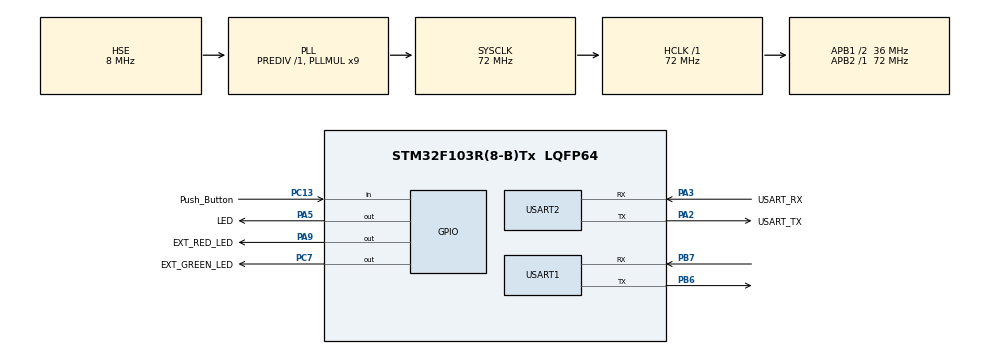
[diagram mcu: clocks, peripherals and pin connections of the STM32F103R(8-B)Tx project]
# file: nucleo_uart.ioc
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Mcu.Family=STM32F1
Mcu.Name=STM32F103R(8-B)Tx
Mcu.Package=LQFP64
NVIC.PriorityGroup=NVIC_PRIORITYGROUP_4
NVIC.TIM1_UP_IRQn=true\:0\:0\:false\:false\:true\:true\:true\:true
NVIC.USART1_IRQn=true\:0\:0\:false\:false\:true\:true\:true\:true
NVIC.USART2_IRQn=true\:0\:0\:false\:false\:true\:true\:true\:true
PA13.GPIO_Label=TMS
PA13.Mode=Serial_Wire
PA13.Signal=SYS_JTMS-SWDIO
PA14.GPIO_Label=TCK
PA14.Mode=Serial_Wire
PA14.Signal=SYS_JTCK-SWCLK
PA2.GPIO_Label=USART_TX
PA2.GPIO_Mode=GPIO_MODE_AF_PP
PA2.GPIO_PuPd=GPIO_NOPULL
PA2.GPIO_Speed=GPIO_SPEED_FREQ_LOW
PA2.Mode=Asynchronous
PA2.Signal=USART2_TX
PA3.GPIO_Label=USART_RX
PA3.GPIO_Mode=GPIO_MODE_AF_PP
PA3.GPIO_PuPd=GPIO_NOPULL
PA3.GPIO_Speed=GPIO_SPEED_FREQ_LOW
PA3.Mode=Asynchronous
PA3.Signal=USART2_RX
PA5.GPIO_Label=LED
PA5.GPIO_ModeDefaultOutputPP=GPIO_MODE_OUTPUT_PP
PA5.GPIO_PuPd=GPIO_NOPULL
PA5.GPIO_Speed=GPIO_SPEED_FREQ_LOW
PA5.Signal=GPIO_Output
PA9.GPIO_Label=EXT_RED_LED
PA9.Signal=GPIO_Output
PB3.GPIO_Label=SWO
PB3.Signal=SYS_JTDO-TRACESWO
PB6.Mode=Asynchronous
PB6.Signal=USART1_TX
PB7.Mode=Asynchronous
PB7.Signal=USART1_RX
PC13-TAMPER-RTC.GPIO_Label=Push_Button
PC13-TAMPER-RTC.Signal=GPIO_Input
PC14-OSC32_IN.Signal=RCC_OSC32_IN
PC15-OSC32_OUT.Signal=RCC_OSC32_OUT
PC7.GPIO_Label=EXT_GREEN_LED
PC7.Signal=GPIO_Output
PD0-OSC_IN.Mode=HSE-External-Oscillator
PD0-OSC_IN.Signal=RCC_OSC_IN
PD1-OSC_OUT.Mode=HSE-External-Oscillator
PD1-OSC_OUT.Signal=RCC_OSC_OUT
ProjectManager.HeapSize=0x200
ProjectManager.StackSize=0x400
ProjectManager.TargetToolchain=STM32CubeIDE
RCC.AHBFreq_Value=72000000
RCC.APB1CLKDivider=RCC_HCLK_DIV2
RCC.APB1Freq_Value=36000000
RCC.APB1TimFreq_Value=72000000
RCC.APB2Freq_Value=72000000
RCC.APB2TimFreq_Value=72000000
RCC.HCLKFreq_Value=72000000
RCC.PLLMUL=RCC_PLL_MUL9
RCC.PLLSourceVirtual=RCC_PLLSOURCE_HSE
RCC.RTCClockSelection=RCC_RTCCLKSOURCE_LSE
RCC.SYSCLKFreq_VALUE=72000000
RCC.SYSCLKSource=RCC_SYSCLKSOURCE_PLLCLK
RCC.USBFreq_Value=72000000
USART1.VirtualMode=VM_ASYNC
USART2.VirtualMode=VM_ASYNC
VP_TIM1_VS_ClockSourceINT.Mode=Internal
board=NUCLEO-F103RB

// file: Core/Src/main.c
/* USER CODE BEGIN Header */
/**
  ******************************************************************************
  * @file           : main.c
  * @brief          : Main program body
  ******************************************************************************
  * @attention
  *
  * Copyright (c) 2024 STMicroelectronics.
  * All rights reserved.
  *
  * This software is licensed under terms that can be found in the LICENSE file
  * in the root directory of this software component.
  * If no LICENSE file comes with this software, it is provided AS-IS.
  *
  ******************************************************************************
  */
/* USER CODE END Header */
#include "main.h"

TIM_HandleTypeDef htim1;

UART_HandleTypeDef huart1;
UART_HandleTypeDef huart2;

/* USER CODE BEGIN PV */
char readBuf[1];
__IO ITStatus UartReady = SET;
/* USER CODE END PV */

void SystemClock_Config(void);
static void MX_GPIO_Init(void);
static void MX_USART2_UART_Init(void);
static void MX_TIM1_Init(void);
static void MX_USART1_UART_Init(void);
/* USER CODE BEGIN PFP */
void delay (int x);
void sleep_ms(uint32_t ms);
void sleep_us(uint32_t us);
/* USER CODE END PFP */

int main(void)
{

  /* MCU Configuration--------------------------------------------------------*/

  /* Reset of all peripherals, Initializes the Flash interface and the Systick. */
  HAL_Init();

  /* Configure the system clock */
  SystemClock_Config();

  /* Initialize all configured peripherals */
  MX_GPIO_Init();
  MX_USART2_UART_Init();
  MX_TIM1_Init();
  MX_USART1_UART_Init();

  /* Infinite loop */
  /* USER CODE BEGIN WHILE */
  while (1)
  {
//    HAL_GPIO_WritePin(LED_GPIO_Port, LED_Pin, GPIO_PIN_SET);
//    HAL_Delay(1000);
//    HAL_GPIO_WritePin(LED_GPIO_Port, LED_Pin, GPIO_PIN_RESET);
//    HAL_GPIO_WritePin(EXT_GREEN_LED_GPIO_Port, EXT_GREEN_LED_Pin, GPIO_PIN_SET);
//    HAL_Delay(1000);
//    HAL_GPIO_WritePin(EXT_GREEN_LED_GPIO_Port, EXT_GREEN_LED_Pin, GPIO_PIN_RESET);
//    HAL_GPIO_WritePin(EXT_RED_LED_GPIO_Port, EXT_RED_LED_Pin, GPIO_PIN_SET);
//    HAL_Delay(1000);
//    HAL_GPIO_WritePin(EXT_RED_LED_GPIO_Port, EXT_RED_LED_Pin, GPIO_PIN_RESET);
    if (UartReady == SET) {
      UartReady = RESET;
      HAL_UART_Receive_IT(&huart2, (uint8_t*)readBuf, 1);
      HAL_GPIO_TogglePin(LED_GPIO_Port, LED_Pin);
      HAL_UART_Transmit_IT(&huart2, (uint8_t*)readBuf, 1);
      HAL_UART_Transmit_IT(&huart1, (uint8_t*)readBuf, 1);
    }

    /* USER CODE END WHILE */

  }
}

void SystemClock_Config(void)
{
  RCC_OscInitTypeDef RCC_OscInitStruct = {0};
  RCC_ClkInitTypeDef RCC_ClkInitStruct = {0};

  /** Initializes the RCC Oscillators according to the specified parameters
  * in the RCC_OscInitTypeDef structure.
  */
  RCC_OscInitStruct.OscillatorType = RCC_OSCILLATORTYPE_HSE;
  RCC_OscInitStruct.HSEState = RCC_HSE_ON;
  RCC_OscInitStruct.HSEPredivValue = RCC_HSE_PREDIV_DIV1;
  RCC_OscInitStruct.HSIState = RCC_HSI_ON;
  RCC_OscInitStruct.PLL.PLLState = RCC_PLL_ON;
  RCC_OscInitStruct.PLL.PLLSource = RCC_PLLSOURCE_HSE;
  RCC_OscInitStruct.PLL.PLLMUL = RCC_PLL_MUL9;
  if (HAL_RCC_OscConfig(&RCC_OscInitStruct) != HAL_OK)
  {
    Error_Handler();
  }

  /** Initializes the CPU, AHB and APB buses clocks
  */
  RCC_ClkInitStruct.ClockType = RCC_CLOCKTYPE_HCLK|RCC_CLOCKTYPE_SYSCLK
                              |RCC_CLOCKTYPE_PCLK1|RCC_CLOCKTYPE_PCLK2;
  RCC_ClkInitStruct.SYSCLKSource = RCC_SYSCLKSOURCE_PLLCLK;
  RCC_ClkInitStruct.AHBCLKDivider = RCC_SYSCLK_DIV1;
  RCC_ClkInitStruct.APB1CLKDivider = RCC_HCLK_DIV2;
  RCC_ClkInitStruct.APB2CLKDivider = RCC_HCLK_DIV1;

  if (HAL_RCC_ClockConfig(&RCC_ClkInitStruct, FLASH_LATENCY_2) != HAL_OK)
  {
    Error_Handler();
  }
}

static void MX_TIM1_Init(void)
{

  TIM_ClockConfigTypeDef sClockSourceConfig = {0};
  TIM_MasterConfigTypeDef sMasterConfig = {0};

  htim1.Instance = TIM1;
  htim1.Init.Prescaler = 0;
  htim1.Init.CounterMode = TIM_COUNTERMODE_UP;
  htim1.Init.Period = 65535;
  htim1.Init.ClockDivision = TIM_CLOCKDIVISION_DIV1;
  htim1.Init.RepetitionCounter = 0;
  htim1.Init.AutoReloadPreload = TIM_AUTORELOAD_PRELOAD_DISABLE;
  if (HAL_TIM_Base_Init(&htim1) != HAL_OK)
  {
    Error_Handler();
  }
  sClockSourceConfig.ClockSource = TIM_CLOCKSOURCE_INTERNAL;
  if (HAL_TIM_ConfigClockSource(&htim1, &sClockSourceConfig) != HAL_OK)
  {
    Error_Handler();
  }
  sMasterConfig.MasterOutputTrigger = TIM_TRGO_RESET;
  sMasterConfig.MasterSlaveMode = TIM_MASTERSLAVEMODE_DISABLE;
  if (HAL_TIMEx_MasterConfigSynchronization(&htim1, &sMasterConfig) != HAL_OK)
  {
    Error_Handler();
  }

}

static void MX_USART1_UART_Init(void)
{

  huart1.Instance = USART1;
  huart1.Init.BaudRate = 115200;
  huart1.Init.WordLength = UART_WORDLENGTH_8B;
  huart1.Init.StopBits = UART_STOPBITS_1;
  huart1.Init.Parity = UART_PARITY_NONE;
  huart1.Init.Mode = UART_MODE_TX_RX;
  huart1.Init.HwFlowCtl = UART_HWCONTROL_NONE;
  huart1.Init.OverSampling = UART_OVERSAMPLING_16;
  if (HAL_UART_Init(&huart1) != HAL_OK)
  {
    Error_Handler();
  }

}

static void MX_USART2_UART_Init(void)
{

  huart2.Instance = USART2;
  huart2.Init.BaudRate = 115200;
  huart2.Init.WordLength = UART_WORDLENGTH_8B;
  huart2.Init.StopBits = UART_STOPBITS_1;
  huart2.Init.Parity = UART_PARITY_NONE;
  huart2.Init.Mode = UART_MODE_TX_RX;
  huart2.Init.HwFlowCtl = UART_HWCONTROL_NONE;
  huart2.Init.OverSampling = UART_OVERSAMPLING_16;
  if (HAL_UART_Init(&huart2) != HAL_OK)
  {
    Error_Handler();
  }

}

static void MX_GPIO_Init(void)
{
  GPIO_InitTypeDef GPIO_InitStruct = {0};

  /* GPIO Ports Clock Enable */
  __HAL_RCC_GPIOC_CLK_ENABLE();
  __HAL_RCC_GPIOD_CLK_ENABLE();
  __HAL_RCC_GPIOA_CLK_ENABLE();
  __HAL_RCC_GPIOB_CLK_ENABLE();

  /*Configure GPIO pin Output Level */
  HAL_GPIO_WritePin(GPIOA, LED_Pin|EXT_RED_LED_Pin, GPIO_PIN_RESET);

  /*Configure GPIO pin Output Level */
  HAL_GPIO_WritePin(EXT_GREEN_LED_GPIO_Port, EXT_GREEN_LED_Pin, GPIO_PIN_RESET);

  /*Configure GPIO pin : Push_Button_Pin */
  GPIO_InitStruct.Pin = Push_Button_Pin;
  GPIO_InitStruct.Mode = GPIO_MODE_INPUT;
  GPIO_InitStruct.Pull = GPIO_NOPULL;
  HAL_GPIO_Init(Push_Button_GPIO_Port, &GPIO_InitStruct);

  /*Configure GPIO pins : LED_Pin EXT_RED_LED_Pin */
  GPIO_InitStruct.Pin = LED_Pin|EXT_RED_LED_Pin;
  GPIO_InitStruct.Mode = GPIO_MODE_OUTPUT_PP;
  GPIO_InitStruct.Pull = GPIO_NOPULL;
  GPIO_InitStruct.Speed = GPIO_SPEED_FREQ_LOW;
  HAL_GPIO_Init(GPIOA, &GPIO_InitStruct);

  /*Configure GPIO pin : EXT_GREEN_LED_Pin */
  GPIO_InitStruct.Pin = EXT_GREEN_LED_Pin;
  GPIO_InitStruct.Mode = GPIO_MODE_OUTPUT_PP;
  GPIO_InitStruct.Pull = GPIO_NOPULL;
  GPIO_InitStruct.Speed = GPIO_SPEED_FREQ_LOW;
  HAL_GPIO_Init(EXT_GREEN_LED_GPIO_Port, &GPIO_InitStruct);

}

/* USER CODE BEGIN 4 */
void sleep_ms(uint32_t ms)
{
  volatile uint32_t i;
  for (i = ms; i != 0; i--)
  {
    sleep_us(1000);
  }
}

void sleep_us(uint32_t us)
{
  volatile uint32_t i;
  for (i = ((SystemCoreClock / 8000000) * us); i != 0; i--) {}
}

void delay (int x)
{
  volatile int i, j;
  for (i=0 ; i < x ; i++)
  {
    j++;
  }
  return;
}

void HAL_UART_RxCpltCallback(UART_HandleTypeDef *UartHandle) {
  /* Set transmission flag: transfer complete*/
  UartReady = SET;
}
/* USER CODE END 4 */

void Error_Handler(void)
{
  __disable_irq();
  while (1)
  {
  }
}
